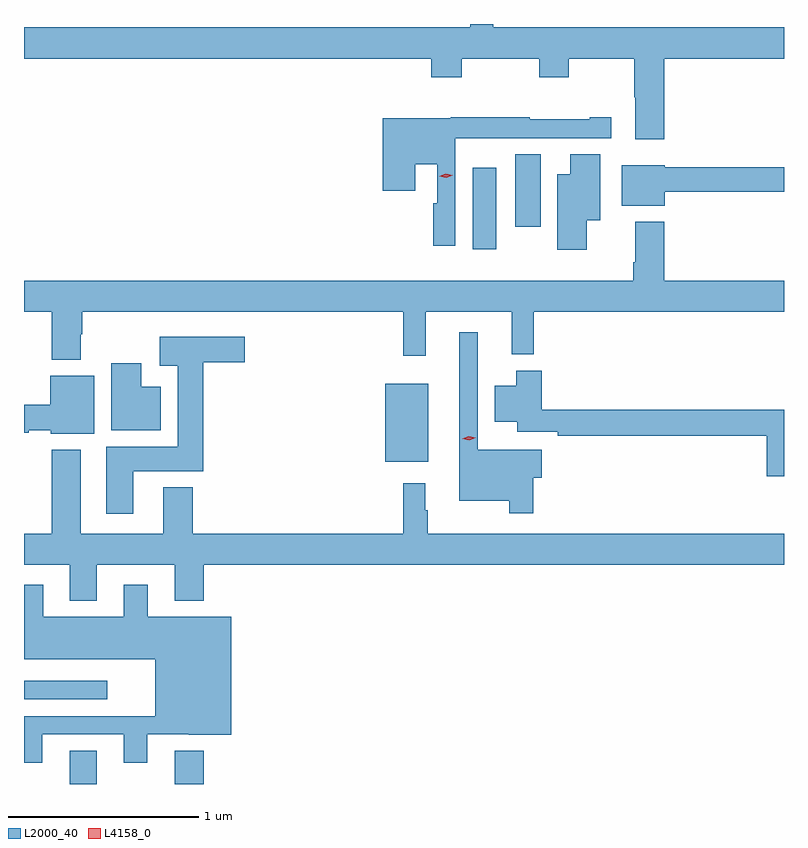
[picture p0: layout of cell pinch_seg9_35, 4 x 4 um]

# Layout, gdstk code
import gdstk
lib = gdstk.Library(unit=1e-6, precision=1e-09)
def R(c, l, rs):  # rectangles x0, y0, x1, y1
    for r in rs: c.add(gdstk.rectangle(r[:2], r[2:], *l))
def P(c, l, *ps):  # polygons
    for p in ps: c.add(gdstk.Polygon(p, *l))
L2000_40 = (2000, 40)
L4158_0 = (4158, 0)

pinch_seg9_35 = lib.new_cell('pinch_seg9_35')
R(pinch_seg9_35, L2000_40, [(909.827,1216.578,909.967,1216.754), (910.379,1216.578,910.532,1216.753), (909.585,1217.025,910.024,1217.121), (911.486,1218.275,911.713,1218.685), (911.948,1219.392,912.07,1219.822), (912.17,1219.512,912.304,1219.892)])
P(pinch_seg9_35, L2000_40, [(912.956,1220.396),(913.585,1220.396),(913.585,1220.56),(912.055,1220.56),(912.055,1220.578),(911.933,1220.578),(911.933,1220.56),(909.585,1220.56),(909.585,1220.396),(911.729,1220.396),(911.729,1220.297),(911.889,1220.297),(911.889,1220.396),(912.298,1220.396),(912.298,1220.297),(912.453,1220.297),(912.453,1220.396),(912.796,1220.396),(912.796,1220.192),(912.803,1220.192),(912.803,1219.971),(912.956,1219.971)],
  [(911.856,1219.976),(912.066,1219.976),(912.066,1219.977),(912.676,1219.977),(912.676,1220.086),(912.563,1220.086),(912.563,1220.076),(912.248,1220.076),(912.248,1220.086),(911.832,1220.086),(911.832,1220.083),(911.474,1220.083),(911.474,1219.701),(911.644,1219.701),(911.644,1219.841),(911.76,1219.841),(911.76,1219.634),(911.74,1219.634),(911.74,1219.41),(911.856,1219.41)],
  [(912.547,1219.544),(912.619,1219.544),(912.619,1219.892),(912.461,1219.892),(912.461,1219.786),(912.392,1219.786),(912.392,1219.389),(912.547,1219.389)],
  [(912.958,1219.695),(913.585,1219.695),(913.585,1219.823),(912.958,1219.823),(912.958,1219.834),(912.731,1219.834),(912.731,1219.622),(912.958,1219.622)],
  [(909.883,1218.944),(909.891,1218.944),(909.891,1219.064),(911.581,1219.064),(911.581,1218.831),(911.699,1218.831),(911.699,1219.064),(912.152,1219.064),(912.152,1218.839),(912.269,1218.839),(912.269,1219.064),(913.585,1219.064),(913.585,1219.228),(912.956,1219.228),(912.956,1219.537),(912.803,1219.537),(912.803,1219.324),(912.791,1219.324),(912.791,1219.228),(909.585,1219.228),(909.585,1219.064),(909.731,1219.064),(909.731,1218.812),(909.883,1218.812)],
  [(912.266,1218.19),(912.31,1218.19),(912.31,1218.337),(911.973,1218.337),(911.973,1218.955),(911.876,1218.955),(911.876,1218.068),(912.138,1218.068),(912.138,1218.003),(912.266,1218.003)],
  [(910.159,1218.224),(910.529,1218.224),(910.529,1218.797),(910.747,1218.797),(910.747,1218.931),(910.299,1218.931),(910.299,1218.779),(910.394,1218.779),(910.394,1218.352),(910.019,1218.352),(910.019,1218),(910.159,1218)],
  [(910.306,1218.67),(910.201,1218.67),(910.201,1218.793),(910.043,1218.793),(910.043,1218.44),(910.306,1218.44)],
  [(913.585,1218.548),(912.311,1218.548),(912.311,1218.754),(912.176,1218.754),(912.176,1218.673),(912.062,1218.673),(912.062,1218.485),(912.182,1218.485),(912.182,1218.432),(912.394,1218.432),(912.394,1218.412),(913.495,1218.412),(913.495,1218.198),(913.585,1218.198)],
  [(909.955,1218.727),(909.722,1218.727),(909.722,1218.575),(909.585,1218.575),(909.585,1218.428),(909.609,1218.428),(909.609,1218.44),(909.726,1218.44),(909.726,1218.422),(909.955,1218.422)],
  [(909.967,1217.732),(910.379,1217.732),(910.379,1217.543),(910.532,1217.543),(910.532,1217.732),(913.585,1217.732),(913.585,1217.896),(911.71,1217.896),(911.71,1218.02),(911.698,1218.02),(911.698,1218.16),(911.581,1218.16),(911.581,1217.896),(910.472,1217.896),(910.472,1218.139),(910.319,1218.139),(910.319,1217.896),(909.883,1217.896),(909.883,1218.337),(909.731,1218.337),(909.731,1217.896),(909.585,1217.896),(909.585,1217.732),(909.827,1217.732),(909.827,1217.543),(909.967,1217.543)],
  [(909.682,1216.839),(910.109,1216.839),(910.109,1216.689),(910.234,1216.689),(910.234,1216.839),(910.451,1216.839),(910.451,1216.838),(910.675,1216.838),(910.675,1217.458),(910.237,1217.458),(910.237,1217.626),(910.109,1217.626),(910.109,1217.458),(909.685,1217.458),(909.685,1217.626),(909.585,1217.626),(909.585,1217.234),(910.277,1217.234),(910.277,1216.935),(909.585,1216.935),(909.585,1216.689),(909.682,1216.689)])
P(pinch_seg9_35, L4158_0, [(911.928,1218.388),(911.892,1218.396),(911.892,1218.396),(911.892,1218.396),(911.927,1218.408),(911.963,1218.4),(911.963,1218.4),(911.963,1218.4)],
  [(911.807,1219.77),(911.77,1219.777),(911.77,1219.777),(911.77,1219.777),(911.805,1219.79),(911.842,1219.783),(911.842,1219.783),(911.842,1219.782)])

lib.write_gds('pinch_seg9_35.gds')
